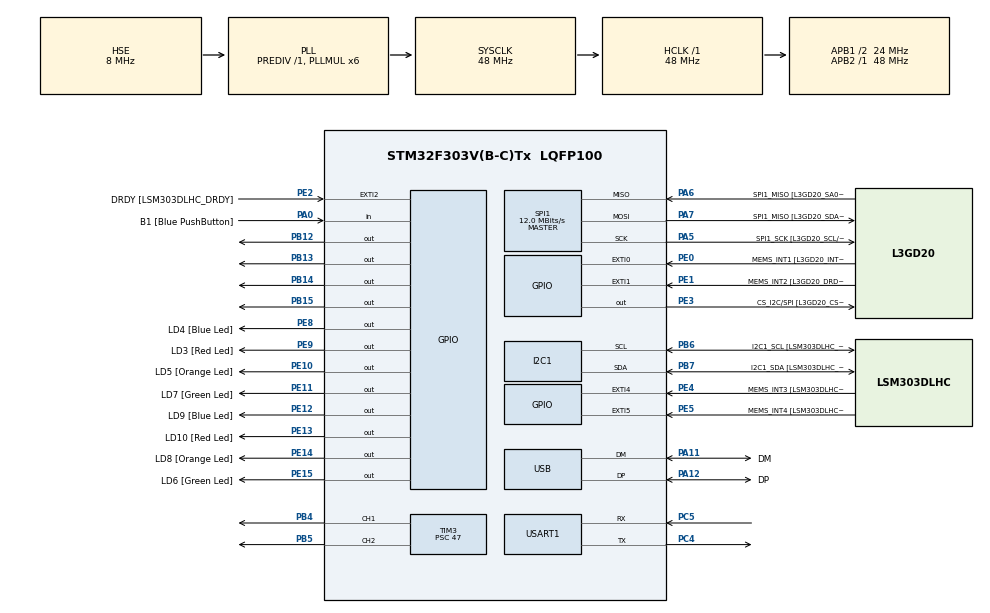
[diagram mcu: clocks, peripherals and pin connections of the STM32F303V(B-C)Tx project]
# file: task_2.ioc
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I2C1.Timing=0x00201D2B
I2C1.Timing-I2C=0x2000090E
Mcu.Family=STM32F3
Mcu.Name=STM32F303V(B-C)Tx
Mcu.Package=LQFP100
NVIC.PriorityGroup=NVIC_PRIORITYGROUP_0
NVIC.TIM2_IRQn=true\:0\:0\:false\:false\:true\:true\:true\:true
PA0.GPIO_Label=B1 [Blue PushButton]
PA0.Signal=GPIO_Input
PA11.GPIO_Label=DM
PA11.Mode=Device
PA11.Signal=USB_DM
PA12.GPIO_Label=DP
PA12.Mode=Device
PA12.Signal=USB_DP
PA13.GPIO_Label=SWDIO
PA13.Mode=Serial_Wire
PA13.Signal=SYS_JTMS-SWDIO
PA14.GPIO_Label=SWCLK
PA14.Mode=Serial_Wire
PA14.Signal=SYS_JTCK-SWCLK
PA5.GPIO_Label=SPI1_SCK [L3GD20_SCL/SPC]
PA5.Mode=Full_Duplex_Master
PA5.Signal=SPI1_SCK
PA6.GPIO_Label=SPI1_MISO [L3GD20_SA0/SDO]
PA6.Mode=Full_Duplex_Master
PA6.Signal=SPI1_MISO
PA7.GPIO_Label=SPI1_MISO [L3GD20_SDA/SDI/SDO]
PA7.Mode=Full_Duplex_Master
PA7.Signal=SPI1_MOSI
PB12.Signal=GPIO_Output
PB13.Signal=GPIO_Output
PB14.Signal=GPIO_Output
PB15.Signal=GPIO_Output
PB3.GPIO_Label=SWO
PB3.Signal=SYS_JTDO-TRACESWO
PB4.Signal=S_TIM3_CH1
PB5.Signal=S_TIM3_CH2
PB6.GPIO_Label=I2C1_SCL [LSM303DLHC_SCL]
PB6.GPIO_Pu=GPIO_PULLUP
PB6.Mode=I2C
PB6.Signal=I2C1_SCL
PB7.GPIO_Label=I2C1_SDA [LSM303DLHC_SDA]
PB7.GPIO_Pu=GPIO_PULLUP
PB7.Mode=I2C
PB7.Signal=I2C1_SDA
PC14-OSC32_IN.GPIO_Label=OSC32_IN
PC14-OSC32_IN.Signal=RCC_OSC32_IN
PC15-OSC32_OUT.GPIO_Label=OSC32_OUT
PC15-OSC32_OUT.Signal=RCC_OSC32_OUT
PC4.Mode=Asynchronous
PC4.Signal=USART1_TX
PC5.Mode=Asynchronous
PC5.Signal=USART1_RX
PE0.GPIO_Label=MEMS_INT1 [L3GD20_INT1]
PE0.GPIO_ModeDefaultEXTI=GPIO_MODE_EVT_RISING
PE0.Signal=GPXTI0
PE1.GPIO_Label=MEMS_INT2 [L3GD20_DRDY/INT2]
PE1.GPIO_ModeDefaultEXTI=GPIO_MODE_EVT_RISING
PE1.Signal=GPXTI1
PE10.GPIO_Label=LD5 [Orange Led]
PE10.Signal=GPIO_Output
PE11.GPIO_Label=LD7 [Green Led]
PE11.Signal=GPIO_Output
PE12.GPIO_Label=LD9 [Blue Led]
PE12.Signal=GPIO_Output
PE13.GPIO_Label=LD10 [Red Led]
PE13.Signal=GPIO_Output
PE14.GPIO_Label=LD8 [Orange Led]
PE14.Signal=GPIO_Output
PE15.GPIO_Label=LD6 [Green Led]
PE15.Signal=GPIO_Output
PE2.GPIO_Label=DRDY [LSM303DLHC_DRDY]
PE2.GPIO_ModeDefaultEXTI=GPIO_MODE_EVT_RISING
PE2.Signal=GPXTI2
PE3.GPIO_Label=CS_I2C/SPI [L3GD20_CS_I2C/SPI]
PE3.Signal=GPIO_Output
PE4.GPIO_Label=MEMS_INT3 [LSM303DLHC_INT1]
PE4.GPIO_ModeDefaultEXTI=GPIO_MODE_EVT_RISING
PE4.Signal=GPXTI4
PE5.GPIO_Label=MEMS_INT4 [LSM303DLHC_INT2]
PE5.GPIO_ModeDefaultEXTI=GPIO_MODE_EVT_RISING
PE5.Signal=GPXTI5
PE8.GPIO_Label=LD4 [Blue Led]
PE8.Signal=GPIO_Output
PE9.GPIO_Label=LD3 [Red Led]
PE9.Signal=GPIO_Output
PF0-OSC_IN.GPIO_Label=OSC_IN
PF0-OSC_IN.Mode=HSE-External-Clock-Source
PF0-OSC_IN.Signal=RCC_OSC_IN
PF1-OSC_OUT.GPIO_Label=OSC_OUT
PF1-OSC_OUT.Signal=RCC_OSC_OUT
ProjectManager.HeapSize=0x200
ProjectManager.StackSize=0x400
ProjectManager.TargetToolchain=CMake
RCC.AHBFreq_Value=48000000
RCC.APB1CLKDivider=RCC_HCLK_DIV2
RCC.APB1Freq_Value=24000000
RCC.APB1TimFreq_Value=48000000
RCC.APB2Freq_Value=48000000
RCC.APB2TimFreq_Value=48000000
RCC.CortexFreq_Value=48000000
RCC.HCLKFreq_Value=48000000
RCC.HSE_VALUE=8000000
RCC.HSI_VALUE=8000000
RCC.LSE_VALUE=32768
RCC.PLLMUL=RCC_PLL_MUL6
RCC.SYSCLKFreq_VALUE=48000000
RCC.SYSCLKSourceVirtual=RCC_SYSCLKSOURCE_PLLCLK
RCC.USBFreq_Value=48000000
SH.S_TIM3_CH1.0=TIM3_CH1,PWM Generation1 CH1
SH.S_TIM3_CH2.0=TIM3_CH2,PWM Generation2 CH2
SPI1.BaudRatePrescaler=SPI_BAUDRATEPRESCALER_4
SPI1.BaudRatePrescaler-Full_Duplex_Master=SPI_BAUDRATEPRESCALER_2
SPI1.CalculateBaudRate=12.0 MBits/s
SPI1.CalculateBaudRate-Full_Duplex_Master=24.0 MBits/s
SPI1.Direction=SPI_DIRECTION_2LINES
SPI1.Mode=SPI_MODE_MASTER
SPI1.Mode-Full_Duplex_Master=SPI_MODE_MASTER
SPI1.VirtualType=VM_MASTER
TIM2.Period=4999
TIM2.Prescaler=47
TIM3.Channel-PWM\ Generation1\ CH1=TIM_CHANNEL_1
TIM3.Channel-PWM\ Generation2\ CH2=TIM_CHANNEL_2
TIM3.Period=999
TIM3.Prescaler=47
USART1.VirtualMode-Asynchronous=VM_ASYNC
VP_TIM2_VS_ClockSourceINT.Mode=Internal
VP_TIM3_VS_ClockSourceINT.Mode=Internal
board=STM32F3DISCOVERY

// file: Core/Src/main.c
/* USER CODE BEGIN Header */
/**
  ******************************************************************************
  * @file           : main.c
  * @brief          : Lab 11 Task 2 - PID Controller for Self-Balancing Robot
  ******************************************************************************
  * TIM2 = 200Hz control loop ISR (complementary filter + PID)
  * TIM3 = PWM generation for motors (CH1=left on PC6, CH2=right on PA4)
  * Motor direction pins:
  *   Left  motor: PB12 (IN1), PB13 (IN2)
  *   Right motor: PB14 (IN1), PB15 (IN2)
  ******************************************************************************
  */
/* USER CODE END Header */
#include "main.h"

/* USER CODE BEGIN Includes */
#include <math.h>
#include <stdio.h>
#include <string.h>
/* USER CODE END Includes */

/* USER CODE BEGIN PD */

/* ---- Sampling Time ---- */
#define DT 0.005f            // 200Hz -> 1/200 = 0.005s

/* ---- PID Gains ---- */
// Start with these values and tune on your robot
// Kp: main corrective force. Start around 15-30.
// Ki: eliminates steady-state offset. Start small (0.5-2).
// Kd: damps oscillations. Start around 0.1-0.5.
#define KP  60.0f
#define KI  0.5f
#define KD  1.2f

/* ---- Setpoint ---- */
// The target angle in degrees (0 = perfectly upright)
// You may need to offset this slightly if your robot's center
// of gravity isn't perfectly centered. Tune by observation.
#define SETPOINT 8.0f

/* ---- Output Limits ---- */
#define PID_OUT_MAX  999.0f   // TIM3 period = 999, so max PWM = 999
#define PID_OUT_MIN -999.0f

/* ---- Integral Anti-Windup Limit ---- */
#define INTEGRAL_MAX  500.0f
#define INTEGRAL_MIN -500.0f

/* ---- Complementary Filter Weights ---- */
#define COMP_GYRO_WEIGHT  0.98f
#define COMP_ACC_WEIGHT   0.02f

/* USER CODE END PD */

I2C_HandleTypeDef hi2c1;

SPI_HandleTypeDef hspi1;

TIM_HandleTypeDef htim2;
TIM_HandleTypeDef htim3;

UART_HandleTypeDef huart1;

PCD_HandleTypeDef hpcd_USB_FS;

/* USER CODE BEGIN PV */

/* ---- Angle Estimation Variables ---- */
volatile float shared_angle   = 0.0f;   // Bridge between ISR and main
volatile float shared_pid_out = 0.0f;   // PID output for display
volatile uint8_t display_flag = 0;

// For display/debug in main loop
float gyro_rate = 0.0f;
float acc_angle = 0.0f;

/* USER CODE END PV */

void SystemClock_Config(void);
static void MX_GPIO_Init(void);
static void MX_I2C1_Init(void);
static void MX_SPI1_Init(void);
static void MX_TIM2_Init(void);
static void MX_TIM3_Init(void);
static void MX_USART1_UART_Init(void);
static void MX_USB_PCD_Init(void);

/* USER CODE BEGIN 0 */

/* ===========================================center=================
 *  I3G4250D (Gyroscope) SPI Read/Write
 * ============================================================ */
void I3G_WriteReg(uint8_t reg_addr, uint8_t data) {
    uint8_t tx_buffer[2];
    tx_buffer[0] = reg_addr & 0x7F;  // Bit 7 = 0 for WRITE
    tx_buffer[1] = data;

    HAL_GPIO_WritePin(GPIOE, GPIO_PIN_3, GPIO_PIN_RESET); // CS LOW
    HAL_SPI_Transmit(&hspi1, tx_buffer, 2, HAL_MAX_DELAY);
    HAL_GPIO_WritePin(GPIOE, GPIO_PIN_3, GPIO_PIN_SET);   // CS HIGH
}

uint8_t I3G_ReadReg(uint8_t reg_addr) {
    uint8_t tx_data = reg_addr | 0x80;  // Bit 7 = 1 for READ
    uint8_t rx_data;

    HAL_GPIO_WritePin(GPIOE, GPIO_PIN_3, GPIO_PIN_RESET);
    HAL_SPI_Transmit(&hspi1, &tx_data, 1, HAL_MAX_DELAY);
    HAL_SPI_Receive(&hspi1, &rx_data, 1, HAL_MAX_DELAY);
    HAL_GPIO_WritePin(GPIOE, GPIO_PIN_3, GPIO_PIN_SET);

    return rx_data;
}

/* ============================================================
 *  Motor Control Functions
 * ============================================================
 *
 *  Left Motor:
 *    PWM  -> TIM3_CH1 (PC6)   => Shield pin D9
 *    IN1  -> PB12              => Shield pin D6
 *    IN2  -> PB13              => Shield pin D7
 *
 *  Right Motor:
 *    PWM  -> TIM3_CH2 (PA4)   => Shield pin D10
 *    IN1  -> PB14              => Shield pin D8
 *    IN2  -> PB15              => Shield pin D12
 *
 *  Direction logic (L298N style):
 *    Forward  (CW):  IN1=HIGH, IN2=LOW
 *    Backward (CCW): IN1=LOW,  IN2=HIGH
 *    Brake/Stop:     IN1=LOW,  IN2=LOW
 */

void Motor_Left_Forward(uint16_t speed) {
    HAL_GPIO_WritePin(GPIOB, GPIO_PIN_12, GPIO_PIN_SET);    // IN1 = HIGH
    HAL_GPIO_WritePin(GPIOB, GPIO_PIN_13, GPIO_PIN_RESET);  // IN2 = LOW
    __HAL_TIM_SET_COMPARE(&htim3, TIM_CHANNEL_1, speed);
}

void Motor_Left_Backward(uint16_t speed) {
    HAL_GPIO_WritePin(GPIOB, GPIO_PIN_12, GPIO_PIN_RESET);  // IN1 = LOW
    HAL_GPIO_WritePin(GPIOB, GPIO_PIN_13, GPIO_PIN_SET);    // IN2 = HIGH
    __HAL_TIM_SET_COMPARE(&htim3, TIM_CHANNEL_1, speed);
}

void Motor_Left_Stop(void) {
    HAL_GPIO_WritePin(GPIOB, GPIO_PIN_12, GPIO_PIN_RESET);
    HAL_GPIO_WritePin(GPIOB, GPIO_PIN_13, GPIO_PIN_RESET);
    __HAL_TIM_SET_COMPARE(&htim3, TIM_CHANNEL_1, 0);
}

void Motor_Right_Forward(uint16_t speed) {
    HAL_GPIO_WritePin(GPIOB, GPIO_PIN_14, GPIO_PIN_SET);    // IN1 = HIGH
    HAL_GPIO_WritePin(GPIOB, GPIO_PIN_15, GPIO_PIN_RESET);  // IN2 = LOW
    __HAL_TIM_SET_COMPARE(&htim3, TIM_CHANNEL_2, speed);
}

void Motor_Right_Backward(uint16_t speed) {
    HAL_GPIO_WritePin(GPIOB, GPIO_PIN_14, GPIO_PIN_RESET);  // IN1 = LOW
    HAL_GPIO_WritePin(GPIOB, GPIO_PIN_15, GPIO_PIN_SET);    // IN2 = HIGH
    __HAL_TIM_SET_COMPARE(&htim3, TIM_CHANNEL_2, speed);
}

void Motor_Right_Stop(void) {
    HAL_GPIO_WritePin(GPIOB, GPIO_PIN_14, GPIO_PIN_RESET);
    HAL_GPIO_WritePin(GPIOB, GPIO_PIN_15, GPIO_PIN_RESET);
    __HAL_TIM_SET_COMPARE(&htim3, TIM_CHANNEL_2, 0);
}

/* ============================================================
 *  Set both motors based on PID output
 *  pid_output > 0  => tilting forward  => drive motors forward (CW)
 *  pid_output < 0  => tilting backward => drive motors backward (CCW)
 * ============================================================ */
void Motors_Drive(float pid_output) {
    // Convert float to unsigned PWM value
    uint16_t pwm_val;

    if (pid_output > 0) {
        // Clamp to max
        if (pid_output > PID_OUT_MAX) pid_output = PID_OUT_MAX;
        pwm_val = (uint16_t)pid_output;

        Motor_Left_Forward(pwm_val);
        Motor_Right_Forward(pwm_val);
    }
    else if (pid_output < 0) {
        // Make positive for PWM
        float abs_out = -pid_output;
        if (abs_out > PID_OUT_MAX) abs_out = PID_OUT_MAX;
        pwm_val = (uint16_t)abs_out;

        Motor_Left_Backward(pwm_val);
        Motor_Right_Backward(pwm_val);
    }
    else {
        Motor_Left_Stop();
        Motor_Right_Stop();
    }
}

/* USER CODE END 0 */

int main(void)
{

  /* MCU Configuration--------------------------------------------------------*/

  /* Reset of all peripherals, Initializes the Flash interface and the Systick. */
  HAL_Init();

  /* Configure the system clock */
  SystemClock_Config();

  /* Initialize all configured peripherals */
  MX_GPIO_Init();
  MX_I2C1_Init();
  MX_SPI1_Init();
  MX_TIM2_Init();
  MX_TIM3_Init();
  MX_USART1_UART_Init();
  MX_USB_PCD_Init();
  /* USER CODE BEGIN 2 */

  // ---- Initialize Gyroscope (I3G4250D via SPI) ----
  // CTRL_REG1 = 0x20: 200Hz ODR, normal mode, XYZ enable
  I3G_WriteReg(0x20, 0x4F);

  // ---- Initialize Accelerometer (LSM303DLHC via I2C) ----
  // CTRL_REG1_A = 0x20, value 0x57 = 100Hz, normal mode, XYZ enabled
  uint8_t acc_init[2] = {0x20, 0x57};
  HAL_I2C_Master_Transmit(&hi2c1, 0x32, acc_init, 2, 50);

  // ---- Start PWM on both channels for motor speed control ----
  HAL_TIM_PWM_Start(&htim3, TIM_CHANNEL_1);  // Left motor  (PC6)
  HAL_TIM_PWM_Start(&htim3, TIM_CHANNEL_2);  // Right motor (PA4)

  // Set initial PWM to 0 (motors off)
  __HAL_TIM_SET_COMPARE(&htim3, TIM_CHANNEL_1, 0);
  __HAL_TIM_SET_COMPARE(&htim3, TIM_CHANNEL_2, 0);

  // ---- Start TIM2 interrupt for 200Hz control loop ----
  HAL_TIM_Base_Start_IT(&htim2);

  // Small delay to let sensors settle
  HAL_Delay(100);

  /* USER CODE END 2 */

  /* Infinite loop */
  /* USER CODE BEGIN WHILE */
  while (1)
  {
      if (display_flag == 1) {
          display_flag = 0;

          char tx_buffer[100];

          // Print: filtered_angle, acc_angle, gyro_rate, pid_output
          int len = sprintf(tx_buffer, "%.2f,%.2f,%.2f,%.2f\r\n",
                            shared_angle, acc_angle, gyro_rate, shared_pid_out);

          HAL_UART_Transmit(&huart1, (uint8_t*)tx_buffer, len, HAL_MAX_DELAY);
      }
    /* USER CODE END WHILE */

  }
}

void SystemClock_Config(void)
{
  RCC_OscInitTypeDef RCC_OscInitStruct = {0};
  RCC_ClkInitTypeDef RCC_ClkInitStruct = {0};
  RCC_PeriphCLKInitTypeDef PeriphClkInit = {0};

  /** Initializes the RCC Oscillators according to the specified parameters
  * in the RCC_OscInitTypeDef structure.
  */
  RCC_OscInitStruct.OscillatorType = RCC_OSCILLATORTYPE_HSI|RCC_OSCILLATORTYPE_HSE;
  RCC_OscInitStruct.HSEState = RCC_HSE_BYPASS;
  RCC_OscInitStruct.HSEPredivValue = RCC_HSE_PREDIV_DIV1;
  RCC_OscInitStruct.HSIState = RCC_HSI_ON;
  RCC_OscInitStruct.HSICalibrationValue = RCC_HSICALIBRATION_DEFAULT;
  RCC_OscInitStruct.PLL.PLLState = RCC_PLL_ON;
  RCC_OscInitStruct.PLL.PLLSource = RCC_PLLSOURCE_HSE;
  RCC_OscInitStruct.PLL.PLLMUL = RCC_PLL_MUL6;
  if (HAL_RCC_OscConfig(&RCC_OscInitStruct) != HAL_OK)
  {
    Error_Handler();
  }

  /** Initializes the CPU, AHB and APB buses clocks
  */
  RCC_ClkInitStruct.ClockType = RCC_CLOCKTYPE_HCLK|RCC_CLOCKTYPE_SYSCLK
                              |RCC_CLOCKTYPE_PCLK1|RCC_CLOCKTYPE_PCLK2;
  RCC_ClkInitStruct.SYSCLKSource = RCC_SYSCLKSOURCE_PLLCLK;
  RCC_ClkInitStruct.AHBCLKDivider = RCC_SYSCLK_DIV1;
  RCC_ClkInitStruct.APB1CLKDivider = RCC_HCLK_DIV2;
  RCC_ClkInitStruct.APB2CLKDivider = RCC_HCLK_DIV1;

  if (HAL_RCC_ClockConfig(&RCC_ClkInitStruct, FLASH_LATENCY_1) != HAL_OK)
  {
    Error_Handler();
  }
  PeriphClkInit.PeriphClockSelection = RCC_PERIPHCLK_USB|RCC_PERIPHCLK_USART1
                              |RCC_PERIPHCLK_I2C1;
  PeriphClkInit.Usart1ClockSelection = RCC_USART1CLKSOURCE_PCLK2;
  PeriphClkInit.I2c1ClockSelection = RCC_I2C1CLKSOURCE_HSI;
  PeriphClkInit.USBClockSelection = RCC_USBCLKSOURCE_PLL;
  if (HAL_RCCEx_PeriphCLKConfig(&PeriphClkInit) != HAL_OK)
  {
    Error_Handler();
  }
}

static void MX_I2C1_Init(void)
{

  hi2c1.Instance = I2C1;
  hi2c1.Init.Timing = 0x00201D2B;
  hi2c1.Init.OwnAddress1 = 0;
  hi2c1.Init.AddressingMode = I2C_ADDRESSINGMODE_7BIT;
  hi2c1.Init.DualAddressMode = I2C_DUALADDRESS_DISABLE;
  hi2c1.Init.OwnAddress2 = 0;
  hi2c1.Init.OwnAddress2Masks = I2C_OA2_NOMASK;
  hi2c1.Init.GeneralCallMode = I2C_GENERALCALL_DISABLE;
  hi2c1.Init.NoStretchMode = I2C_NOSTRETCH_DISABLE;
  if (HAL_I2C_Init(&hi2c1) != HAL_OK)
  {
    Error_Handler();
  }

  /** Configure Analogue filter
  */
  if (HAL_I2CEx_ConfigAnalogFilter(&hi2c1, I2C_ANALOGFILTER_ENABLE) != HAL_OK)
  {
    Error_Handler();
  }

  /** Configure Digital filter
  */
  if (HAL_I2CEx_ConfigDigitalFilter(&hi2c1, 0) != HAL_OK)
  {
    Error_Handler();
  }

}

static void MX_SPI1_Init(void)
{

  /* SPI1 parameter configuration*/
  hspi1.Instance = SPI1;
  hspi1.Init.Mode = SPI_MODE_MASTER;
  hspi1.Init.Direction = SPI_DIRECTION_2LINES;
  hspi1.Init.DataSize = SPI_DATASIZE_4BIT;
  hspi1.Init.CLKPolarity = SPI_POLARITY_LOW;
  hspi1.Init.CLKPhase = SPI_PHASE_1EDGE;
  hspi1.Init.NSS = SPI_NSS_SOFT;
  hspi1.Init.BaudRatePrescaler = SPI_BAUDRATEPRESCALER_4;
  hspi1.Init.FirstBit = SPI_FIRSTBIT_MSB;
  hspi1.Init.TIMode = SPI_TIMODE_DISABLE;
  hspi1.Init.CRCCalculation = SPI_CRCCALCULATION_DISABLE;
  hspi1.Init.CRCPolynomial = 7;
  hspi1.Init.CRCLength = SPI_CRC_LENGTH_DATASIZE;
  hspi1.Init.NSSPMode = SPI_NSS_PULSE_ENABLE;
  if (HAL_SPI_Init(&hspi1) != HAL_OK)
  {
    Error_Handler();
  }

}

static void MX_TIM2_Init(void)
{

  TIM_ClockConfigTypeDef sClockSourceConfig = {0};
  TIM_MasterConfigTypeDef sMasterConfig = {0};

  htim2.Instance = TIM2;
  htim2.Init.Prescaler = 47;
  htim2.Init.CounterMode = TIM_COUNTERMODE_UP;
  htim2.Init.Period = 4999;
  htim2.Init.ClockDivision = TIM_CLOCKDIVISION_DIV1;
  htim2.Init.AutoReloadPreload = TIM_AUTORELOAD_PRELOAD_DISABLE;
  if (HAL_TIM_Base_Init(&htim2) != HAL_OK)
  {
    Error_Handler();
  }
  sClockSourceConfig.ClockSource = TIM_CLOCKSOURCE_INTERNAL;
  if (HAL_TIM_ConfigClockSource(&htim2, &sClockSourceConfig) != HAL_OK)
  {
    Error_Handler();
  }
  sMasterConfig.MasterOutputTrigger = TIM_TRGO_RESET;
  sMasterConfig.MasterSlaveMode = TIM_MASTERSLAVEMODE_DISABLE;
  if (HAL_TIMEx_MasterConfigSynchronization(&htim2, &sMasterConfig) != HAL_OK)
  {
    Error_Handler();
  }

}

static void MX_TIM3_Init(void)
{

  TIM_ClockConfigTypeDef sClockSourceConfig = {0};
  TIM_MasterConfigTypeDef sMasterConfig = {0};
  TIM_OC_InitTypeDef sConfigOC = {0};

  htim3.Instance = TIM3;
  htim3.Init.Prescaler = 47;
  htim3.Init.CounterMode = TIM_COUNTERMODE_UP;
  htim3.Init.Period = 999;
  htim3.Init.ClockDivision = TIM_CLOCKDIVISION_DIV1;
  htim3.Init.AutoReloadPreload = TIM_AUTORELOAD_PRELOAD_DISABLE;
  if (HAL_TIM_Base_Init(&htim3) != HAL_OK)
  {
    Error_Handler();
  }
  sClockSourceConfig.ClockSource = TIM_CLOCKSOURCE_INTERNAL;
  if (HAL_TIM_ConfigClockSource(&htim3, &sClockSourceConfig) != HAL_OK)
  {
    Error_Handler();
  }
  if (HAL_TIM_PWM_Init(&htim3) != HAL_OK)
  {
    Error_Handler();
  }
  sMasterConfig.MasterOutputTrigger = TIM_TRGO_RESET;
  sMasterConfig.MasterSlaveMode = TIM_MASTERSLAVEMODE_DISABLE;
  if (HAL_TIMEx_MasterConfigSynchronization(&htim3, &sMasterConfig) != HAL_OK)
  {
    Error_Handler();
  }
  sConfigOC.OCMode = TIM_OCMODE_PWM1;
  sConfigOC.Pulse = 0;
  sConfigOC.OCPolarity = TIM_OCPOLARITY_HIGH;
  sConfigOC.OCFastMode = TIM_OCFAST_DISABLE;
  if (HAL_TIM_PWM_ConfigChannel(&htim3, &sConfigOC, TIM_CHANNEL_1) != HAL_OK)
  {
    Error_Handler();
  }
  if (HAL_TIM_PWM_ConfigChannel(&htim3, &sConfigOC, TIM_CHANNEL_2) != HAL_OK)
  {
    Error_Handler();
  }
  HAL_TIM_MspPostInit(&htim3);

}

static void MX_USART1_UART_Init(void)
{

  huart1.Instance = USART1;
  huart1.Init.BaudRate = 115200;
  huart1.Init.WordLength = UART_WORDLENGTH_8B;
  huart1.Init.StopBits = UART_STOPBITS_1;
  huart1.Init.Parity = UART_PARITY_NONE;
  huart1.Init.Mode = UART_MODE_TX_RX;
  huart1.Init.HwFlowCtl = UART_HWCONTROL_NONE;
  huart1.Init.OverSampling = UART_OVERSAMPLING_16;
  huart1.Init.OneBitSampling = UART_ONE_BIT_SAMPLE_DISABLE;
  huart1.AdvancedInit.AdvFeatureInit = UART_ADVFEATURE_NO_INIT;
  if (HAL_UART_Init(&huart1) != HAL_OK)
  {
    Error_Handler();
  }

}

static void MX_USB_PCD_Init(void)
{

  hpcd_USB_FS.Instance = USB;
  hpcd_USB_FS.Init.dev_endpoints = 8;
  hpcd_USB_FS.Init.speed = PCD_SPEED_FULL;
  hpcd_USB_FS.Init.phy_itface = PCD_PHY_EMBEDDED;
  hpcd_USB_FS.Init.low_power_enable = DISABLE;
  hpcd_USB_FS.Init.battery_charging_enable = DISABLE;
  if (HAL_PCD_Init(&hpcd_USB_FS) != HAL_OK)
  {
    Error_Handler();
  }

}

static void MX_GPIO_Init(void)
{
  GPIO_InitTypeDef GPIO_InitStruct = {0};

  /* GPIO Ports Clock Enable */
  __HAL_RCC_GPIOE_CLK_ENABLE();
  __HAL_RCC_GPIOC_CLK_ENABLE();
  __HAL_RCC_GPIOF_CLK_ENABLE();
  __HAL_RCC_GPIOA_CLK_ENABLE();
  __HAL_RCC_GPIOB_CLK_ENABLE();

  /*Configure GPIO pin Output Level */
  HAL_GPIO_WritePin(GPIOE, CS_I2C_SPI_Pin|LD4_Pin|LD3_Pin|LD5_Pin
                          |LD7_Pin|LD9_Pin|LD10_Pin|LD8_Pin
                          |LD6_Pin, GPIO_PIN_RESET);

  /*Configure GPIO pin Output Level */
  HAL_GPIO_WritePin(GPIOB, GPIO_PIN_12|GPIO_PIN_13|GPIO_PIN_14|GPIO_PIN_15, GPIO_PIN_RESET);

  /*Configure GPIO pins : DRDY_Pin MEMS_INT3_Pin MEMS_INT4_Pin MEMS_INT1_Pin
                           MEMS_INT2_Pin */
  GPIO_InitStruct.Pin = DRDY_Pin|MEMS_INT3_Pin|MEMS_INT4_Pin|MEMS_INT1_Pin
                          |MEMS_INT2_Pin;
  GPIO_InitStruct.Mode = GPIO_MODE_EVT_RISING;
  GPIO_InitStruct.Pull = GPIO_NOPULL;
  HAL_GPIO_Init(GPIOE, &GPIO_InitStruct);

  /*Configure GPIO pins : CS_I2C_SPI_Pin LD4_Pin LD3_Pin LD5_Pin
                           LD7_Pin LD9_Pin LD10_Pin LD8_Pin
                           LD6_Pin */
  GPIO_InitStruct.Pin = CS_I2C_SPI_Pin|LD4_Pin|LD3_Pin|LD5_Pin
                          |LD7_Pin|LD9_Pin|LD10_Pin|LD8_Pin
                          |LD6_Pin;
  GPIO_InitStruct.Mode = GPIO_MODE_OUTPUT_PP;
  GPIO_InitStruct.Pull = GPIO_NOPULL;
  GPIO_InitStruct.Speed = GPIO_SPEED_FREQ_LOW;
  HAL_GPIO_Init(GPIOE, &GPIO_InitStruct);

  /*Configure GPIO pin : B1_Pin */
  GPIO_InitStruct.Pin = B1_Pin;
  GPIO_InitStruct.Mode = GPIO_MODE_INPUT;
  GPIO_InitStruct.Pull = GPIO_NOPULL;
  HAL_GPIO_Init(B1_GPIO_Port, &GPIO_InitStruct);

  /*Configure GPIO pins : PB12 PB13 PB14 PB15 */
  GPIO_InitStruct.Pin = GPIO_PIN_12|GPIO_PIN_13|GPIO_PIN_14|GPIO_PIN_15;
  GPIO_InitStruct.Mode = GPIO_MODE_OUTPUT_PP;
  GPIO_InitStruct.Pull = GPIO_NOPULL;
  GPIO_InitStruct.Speed = GPIO_SPEED_FREQ_LOW;
  HAL_GPIO_Init(GPIOB, &GPIO_InitStruct);

}

/* USER CODE BEGIN 4 */

/* ============================================================
 *  TIM2 ISR Callback — runs at 200 Hz (every 5ms)
 *
 *  This is the HEART of the system. It does:
 *   1) Read gyroscope (SPI)
 *   2) Read accelerometer (I2C)
 *   3) Complementary filter -> tilt angle
 *   4) PID controller -> motor command
 *   5) Drive motors
 *   6) Throttle UART display to ~10 Hz
 * ============================================================ */
void HAL_TIM_PeriodElapsedCallback(TIM_HandleTypeDef *htim) {

    if (htim->Instance == TIM2) {

        /* --- Persistent state variables (survive between ISR calls) --- */
        static float tilt_angle    = 0.0f;
        static float integral      = 0.0f;
        static float prev_error    = 0.0f;
        static int   uart_counter  = 0;

        /* ========================
         *  STEP 1: READ GYROSCOPE
         * ======================== */
        uint8_t y_low  = I3G_ReadReg(0x2A);  // OUT_Y_L
        uint8_t y_high = I3G_ReadReg(0x2B);  // OUT_Y_H

        int16_t raw_gyro_y = (int16_t)((y_high << 8) | y_low);

        // Scale factor for 245 dps full-scale = 0.00875 dps/digit
        float gyro_y_dps = (float)raw_gyro_y * 0.00875f;

        /* ==============================
         *  STEP 2: READ ACCELEROMETER
         * ============================== */
        uint8_t acc_reg = 0x28 | 0x80;  // Auto-increment read from OUT_X_L_A
        uint8_t acc_buf[6] = {0};

        HAL_I2C_Master_Transmit(&hi2c1, 0x32, &acc_reg, 1, 10);
        HAL_I2C_Master_Receive(&hi2c1, 0x33, acc_buf, 6, 10);

        int16_t acc_raw_x = (int16_t)((acc_buf[1] << 8) | acc_buf[0]);
        int16_t acc_raw_z = (int16_t)((acc_buf[5] << 8) | acc_buf[4]);

        // Pitch angle from accelerometer
        float acc_angle_deg = atan2f((float)acc_raw_x, (float)acc_raw_z) * (180.0f / 3.14159f);

        /* ==================================
         *  STEP 3: COMPLEMENTARY FILTER
         * ================================== */
        tilt_angle = COMP_GYRO_WEIGHT * (tilt_angle + gyro_y_dps * DT)
                   + COMP_ACC_WEIGHT  * acc_angle_deg;

        /* ==================================
         *  STEP 4: PID CONTROLLER
         * ==================================
         *
         *  error = setpoint - measured_angle
         *
         *  If angle > 0 (tilted forward), error < 0
         *    => PID output is negative? No — we want positive output
         *    to drive motors forward. So we use:
         *    error = SETPOINT - tilt_angle
         *    If tilt is positive (forward lean), error is negative,
         *    and we want to drive forward. So output = -PID or
         *    we can flip the sign convention.
         *
         *  Convention used here:
         *    error = SETPOINT - tilt_angle
         *    output > 0 => motors drive one way
         *    output < 0 => motors drive the other way
         *    The Motors_Drive() function handles the sign.
         */

        float error = tilt_angle + SETPOINT;

        // P term
        float p_term = KP * error;

        // I term with anti-windup clamping
        integral += KI * error * DT;
        if (integral > INTEGRAL_MAX) integral = INTEGRAL_MAX;
        if (integral < INTEGRAL_MIN) integral = INTEGRAL_MIN;

        // D term (derivative of error)
        float derivative = (error - prev_error) / DT;
        float d_term = KD * derivative;
        prev_error = error;

        // Total PID output
        float pid_output = p_term + integral + d_term;

        // Clamp final output
        if (pid_output > PID_OUT_MAX) pid_output = PID_OUT_MAX;
        if (pid_output < PID_OUT_MIN) pid_output = PID_OUT_MIN;

        /* ==================================
         *  STEP 5: DRIVE MOTORS
         * ================================== */
        Motors_Drive(pid_output);

        /* ==================================
         *  STEP 6: UPDATE SHARED VARIABLES
         * ================================== */
        shared_angle   = tilt_angle;
        shared_pid_out = pid_output;
        gyro_rate      = gyro_y_dps;
        acc_angle      = acc_angle_deg;

        /* ==================================
         *  STEP 7: UART DISPLAY THROTTLE
         *  200Hz / 20 = 10Hz serial output
         * ================================== */
        if (++uart_counter >= 20) {
            display_flag = 1;
            uart_counter = 0;
        }
    }
}

/* USER CODE END 4 */

void Error_Handler(void)
{
  __disable_irq();
  while (1)
  {
  }
}
